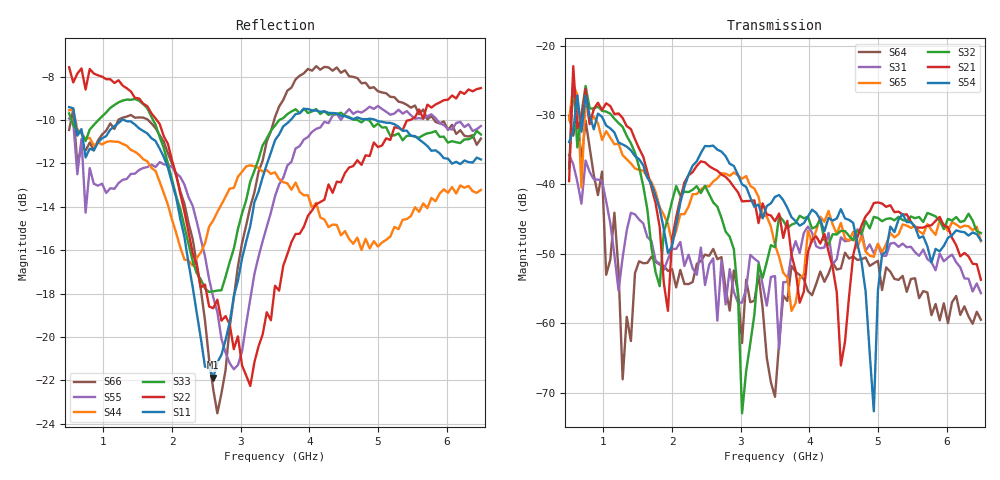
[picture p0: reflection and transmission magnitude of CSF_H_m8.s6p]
!Keysight Technologies,M9804A,MY58100912,A.14.10.03
!Date: Thursday, April 27, 2023 10:28:33
!Correction: S11(C  6-Port  )
!S12(C  6-Port  )
!S13(C  6-Port  )
!S14(C  6-Port  )
!S15(C  6-Port  )
!S16(C  6-Port  )
!S21(C  6-Port  )
!S22(C  6-Port  )
!S23(C  6-Port  )
!S24(C  6-Port  )
!S25(C  6-Port  )
!S26(C  6-Port  )
!S31(C  6-Port  )
!S32(C  6-Port  )
!S33(C  6-Port  )
!S34(C  6-Port  )
!S35(C  6-Port  )
!S36(C  6-Port  )
!S41(C  6-Port  )
!S42(C  6-Port  )
!S43(C  6-Port  )
!S44(C  6-Port  )
!S45(C  6-Port  )
!S46(C  6-Port  )
!S51(C  6-Port  )
!S52(C  6-Port  )
!S53(C  6-Port  )
!S54(C  6-Port  )
!S55(C  6-Port  )
!S56(C  6-Port  )
!S61(C  6-Port  )
!S62(C  6-Port  )
!S63(C  6-Port  )
!S64(C  6-Port  )
!S65(C  6-Port  )
!S66(C  6-Port  )
!S6P File: Measurement: :
# Hz S  RI  R 50
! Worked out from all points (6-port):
!   101 points, 500 MHz to 6.5 GHz, reference 50 ohm
!   strongest paths, dB at 500 MHz, 2 GHz, 3.5 GHz, 5 GHz, 6.5 GHz:
!     S54: -33.9, -48.9, -41.8, -55.2, -48.1
!     S21: -39.5, -47.9, -45.3, -42.6, -53.7
!     S32: -37.7, -42.4, -49.0, -44.8, -47.0
!     S65: -30.7, -48.3, -48.7, -48.5, -48.2
!     S31: -35.7, -49.3, -53.2, -48.6, -55.7
!     S64: -30.1, -52.2, -70.6, -51.0, -59.5
!   lowest |S11| = -21.9 dB at 2.6 GHz (marker M1), VSWR 1.18, Z = 42.8 + j1.97 ohm
!   |S11| at or under -10 dB: 585.9 MHz to 1.268 GHz (682.2 MHz wide, 73.6 % of centre); 1.304 GHz to 3.725 GHz (2.421 GHz wide, 96.3 % of centre); 4.966 GHz to end of sweep
